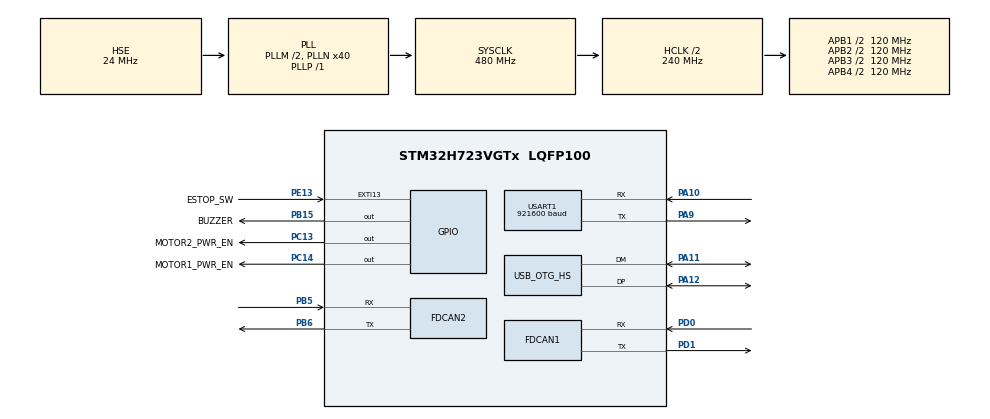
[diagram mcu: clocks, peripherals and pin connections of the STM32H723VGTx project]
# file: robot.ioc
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FDCAN1.AutoRetransmission=ENABLE
FDCAN1.CalculateBaudRateNominal=1000000
FDCAN1.CalculateTimeBitNominal=1000
FDCAN1.CalculateTimeQuantumNominal=25.0
FDCAN1.ClockCalibrationCCU=DISABLE
FDCAN1.DataPrescaler=2
FDCAN1.DataSyncJumpWidth=2
FDCAN1.DataTimeSeg1=5
FDCAN1.DataTimeSeg2=2
FDCAN1.ExtFiltersNbr=0
FDCAN1.FrameFormat=FDCAN_FRAME_FD_BRS
FDCAN1.NominalPrescaler=2
FDCAN1.NominalSyncJumpWidth=8
FDCAN1.NominalTimeSeg1=31
FDCAN1.NominalTimeSeg2=8
FDCAN1.ProtocolException=ENABLE
FDCAN1.RxBufferSize=FDCAN_DATA_BYTES_64
FDCAN1.RxFifo0ElmtSize=FDCAN_DATA_BYTES_64
FDCAN1.RxFifo0ElmtsNbr=10
FDCAN1.RxFifo1ElmtSize=FDCAN_DATA_BYTES_64
FDCAN1.RxFifo1ElmtsNbr=0
FDCAN1.StdFiltersNbr=1
FDCAN1.TxBuffersNbr=4
FDCAN1.TxElmtSize=FDCAN_DATA_BYTES_64
FDCAN1.TxFifoQueueElmtsNbr=28
FDCAN2.AutoRetransmission=ENABLE
FDCAN2.CalculateBaudRateNominal=1000000
FDCAN2.CalculateTimeBitNominal=1000
FDCAN2.CalculateTimeQuantumNominal=25.0
FDCAN2.DataPrescaler=2
FDCAN2.DataSyncJumpWidth=2
FDCAN2.DataTimeSeg1=5
FDCAN2.DataTimeSeg2=2
FDCAN2.ExtFiltersNbr=0
FDCAN2.FrameFormat=FDCAN_FRAME_FD_BRS
FDCAN2.MessageRAMOffset=757
FDCAN2.NominalPrescaler=2
FDCAN2.NominalSyncJumpWidth=8
FDCAN2.NominalTimeSeg1=31
FDCAN2.NominalTimeSeg2=8
FDCAN2.ProtocolException=ENABLE
FDCAN2.RxBufferSize=FDCAN_DATA_BYTES_64
FDCAN2.RxFifo0ElmtSize=FDCAN_DATA_BYTES_64
FDCAN2.RxFifo0ElmtsNbr=10
FDCAN2.RxFifo1ElmtSize=FDCAN_DATA_BYTES_64
FDCAN2.RxFifo1ElmtsNbr=0
FDCAN2.StdFiltersNbr=1
FDCAN2.TxBuffersNbr=4
FDCAN2.TxElmtSize=FDCAN_DATA_BYTES_64
FDCAN2.TxFifoQueueElmtsNbr=28
Mcu.Family=STM32H7
Mcu.Name=STM32H723VGTx
Mcu.Package=LQFP100
NVIC.EXTI15_10_IRQn=true\:0\:0\:false\:false\:true\:true\:true\:true
NVIC.FDCAN1_IT0_IRQn=true\:1\:0\:true\:false\:true\:true\:true\:true
NVIC.FDCAN1_IT1_IRQn=true\:1\:0\:true\:false\:true\:true\:true\:true
NVIC.FDCAN2_IT0_IRQn=true\:1\:0\:true\:false\:true\:true\:true\:true
NVIC.FDCAN2_IT1_IRQn=true\:1\:0\:true\:false\:true\:true\:true\:true
NVIC.OTG_HS_IRQn=true\:0\:0\:false\:false\:true\:false\:true\:true
NVIC.PriorityGroup=NVIC_PRIORITYGROUP_4
PA10.Mode=Asynchronous
PA10.Signal=USART1_RX
PA11.Mode=Device_Only_FS
PA11.Signal=USB_OTG_HS_DM
PA12.Mode=Device_Only_FS
PA12.Signal=USB_OTG_HS_DP
PA13(JTMS/SWDIO).Mode=Serial_Wire
PA13(JTMS/SWDIO).Signal=DEBUG_JTMS-SWDIO
PA14(JTCK/SWCLK).Mode=Serial_Wire
PA14(JTCK/SWCLK).Signal=DEBUG_JTCK-SWCLK
PA9.Mode=Asynchronous
PA9.Signal=USART1_TX
PB15.GPIO_Label=BUZZER
PB15.GPIO_Speed=GPIO_SPEED_FREQ_VERY_HIGH
PB15.Signal=GPIO_Output
PB5.Mode=FDCAN_Activate
PB5.Signal=FDCAN2_RX
PB6.Mode=FDCAN_Activate
PB6.Signal=FDCAN2_TX
PC13.GPIO_Label=MOTOR2_PWR_EN
PC13.Signal=GPIO_Output
PC14-OSC32_IN.GPIO_Label=MOTOR1_PWR_EN
PC14-OSC32_IN.Signal=GPIO_Output
PD0.Mode=FDCAN_Activate
PD0.Signal=FDCAN1_RX
PD1.Mode=FDCAN_Activate
PD1.Signal=FDCAN1_TX
PE13.GPIO_Label=ESTOP_SW
PE13.GPIO_ModeDefaultEXTI=GPIO_MODE_IT_RISING_FALLING
PE13.GPIO_PuPd=GPIO_PULLUP
PE13.Signal=GPXTI13
PH0-OSC_IN.Mode=HSE-External-Oscillator
PH0-OSC_IN.Signal=RCC_OSC_IN
PH1-OSC_OUT.Mode=HSE-External-Oscillator
PH1-OSC_OUT.Signal=RCC_OSC_OUT
ProjectManager.HeapSize=0x800
ProjectManager.StackSize=0x800
ProjectManager.TargetToolchain=CMake
RCC.ADCFreq_Value=150000000
RCC.APB1Freq_Value=120000000
RCC.APB2Freq_Value=120000000
RCC.APB3Freq_Value=120000000
RCC.APB4Freq_Value=120000000
RCC.CortexFreq_Value=480000000
RCC.D1PPRE=RCC_APB3_DIV2
RCC.D2PPRE1=RCC_APB1_DIV2
RCC.D2PPRE2=RCC_APB2_DIV2
RCC.D3PPRE=RCC_APB4_DIV2
RCC.DIVM1=2
RCC.DIVM2=2
RCC.DIVM3=2
RCC.DIVN1=40
RCC.DIVN2=25
RCC.DIVN3=16
RCC.DIVP1=1
RCC.DIVQ1=6
RCC.DIVQ2=3
RCC.DIVQ3=4
RCC.HCLKFreq_Value=240000000
RCC.HPRE=RCC_HCLK_DIV2
RCC.HSE_VALUE=24000000
RCC.PLL2FRACN=0
RCC.PLL3FRACN=0
RCC.PLLFRACN=0
RCC.PLLSourceVirtual=RCC_PLLSOURCE_HSE
RCC.SYSCLKFreq_VALUE=480000000
RCC.SYSCLKSource=RCC_SYSCLKSOURCE_PLLCLK
RCC.USBCLockSelection=RCC_USBCLKSOURCE_PLL3
RCC.USBFreq_Value=48000000
USART1.BaudRate=921600
USART1.VirtualMode-Asynchronous=VM_ASYNC
USB_DEVICE.CLASS_NAME_HS=CDC
USB_DEVICE.VirtualMode=Cdc
USB_DEVICE.VirtualModeHS=Cdc_HS
USB_OTG_HS.VirtualMode-Device_Only_FS=Device_Only_FS
VP_MEMORYMAP_VS_MEMORYMAP.Mode=CurAppReg
VP_USB_DEVICE_VS_USB_DEVICE_CDC_HS.Mode=CDC_HS
VP_WWDG1_VS_WWDG.Mode=WWDG_Activate
WWDG1.Counter=127
WWDG1.Prescaler=WWDG_PRESCALER_128
WWDG1.Window=112
board=custom

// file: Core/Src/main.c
/* USER CODE BEGIN Header */
/**
  ******************************************************************************
  * @file           : main.c
  * @brief          : Main program body
  ******************************************************************************
  * @attention
  *
  * Copyright (c) 2026 STMicroelectronics.
  * All rights reserved.
  *
  * This software is licensed under terms that can be found in the LICENSE file
  * in the root directory of this software component.
  * If no LICENSE file comes with this software, it is provided AS-IS.
  *
  ******************************************************************************
  */
/* USER CODE END Header */
#include "main.h"
#include "usb_device.h"

/* USER CODE BEGIN Includes */

#include <math.h>
#include <stdio.h>
#include "usbd_cdc_if.h"
#include "usbd_core.h"
#include <string.h>
#include "motor.h"
#include "motor_control.h"
#include "motor_many.h"
#include "motor_config.h"
#include "test_motor.h"
#include "test_motor_many.h"

/* USER CODE END Includes */

FDCAN_HandleTypeDef hfdcan1;
FDCAN_HandleTypeDef hfdcan2;

UART_HandleTypeDef huart1;

WWDG_HandleTypeDef hwwdg1;

void SystemClock_Config(void);
static void MX_GPIO_Init(void);
static void MX_FDCAN1_Init(void);
static void MX_FDCAN2_Init(void);
static void MX_USART1_UART_Init(void);
static void MX_WWDG1_Init(void);
/* USER CODE BEGIN PFP */

static void USB_ApplyCommandToMotors(const usb_cdc_command_t *command);
static void USB_ApplyGainTestCommandToMotors(const usb_cdc_gain_test_command_t *command,
                                              uint8_t command_fresh);
static void USB_ConfigureMotorTorqueLimits(void);
static void USB_ConfigureTorqueLimits(float max_torque_nm);
static void USB_SendRobotState(void);
static void IMU_UART_Start(void);
static void IMU_UART_Process(void);

/* USER CODE END PFP */

/* USER CODE BEGIN 0 */

/* PC state feedback stays at 50 Hz; motor commands run at 500 Hz. */
#define USB_STATE_PERIOD_MS 20U
#define USB_CONTROL_PERIOD_MS 2U
#define WWDG_REFRESH_PERIOD_MS 100U
#define USB_CONTROL_TARGET_VELOCITY     0.0f
#define USB_CONTROL_FEEDFORWARD_TORQUE  0.0f
#define USB_CONTROL_MAX_TORQUE          2.0f
#define USB_STARTUP_MAX_VELOCITY_DEG_S  20.0f
#define USB_STARTUP_ACCELERATION_DEG_S2 40.0f
#define USB_GAIN_TEST_COMMAND_TIMEOUT_MS 100U
#define USB_TEST_MAX_TORQUE_NM           10.0f
#define USB_GAIN_TEST_MAX_KP_NM_PER_RAD  100.0f
#define USB_GAIN_TEST_MAX_KD_NMS_PER_RAD 10.0f
#define USB_TWO_PI                       6.2831853071795864769f
#define MOTOR_FEEDBACK_MONITOR_TIMEOUT_MS 60U
#define ROBOT_JOINT_COUNT 6U

#define IMU_FRAME_HEADER         0xFCU
#define IMU_FRAME_END            0xFDU
#define IMU_PACKET_IMU           0x40U
#define IMU_PACKET_AHRS          0x41U
#define IMU_PAYLOAD_IMU_LENGTH   56U
#define IMU_PAYLOAD_AHRS_LENGTH  48U
#define IMU_FRAME_OVERHEAD       8U
#define IMU_FRAME_MAX_LENGTH     (255U + IMU_FRAME_OVERHEAD)
#define IMU_UART_RX_BUFFER_SIZE  512U
#define IMU_UART_RX_BUFFER_MASK  (IMU_UART_RX_BUFFER_SIZE - 1U)
#define IMU_DATA_TIMEOUT_MS      200U

#define IMU_STATUS_RAW_VALID     0x0001U
#define IMU_STATUS_QUAT_VALID    0x0002U
#define MOTOR_STATUS_FEEDBACK_FRESH 0x0100U
#define MOTOR_STATUS_SUSPECT_FEEDBACK 0x0200U
#define MOTOR_STATUS_RX_FIFO_LOST 0x0400U
#define MOTOR_STATUS_TX_ENQUEUE_ERROR 0x0800U
#define MOTOR_STATUS_GAIN_TEST_ACTIVE 0x1000U
#define IMU_STATUS_RX_OVERFLOW   0x8000U

typedef struct
{
  float accel_m_s2[3];
  float gyro_rad_s[3];
  float mag[3];
  float quat[4];
  uint32_t raw_timestamp_ms;
  uint32_t quat_timestamp_ms;
  uint16_t status;
} imu_data_t;

static usb_cdc_command_t g_current_command = {0};
static usb_cdc_gain_test_command_t g_gain_test_command = {0};
static uint8_t g_gain_test_active = 0U;
static usb_cdc_motors_test_command_t g_motors_test_command = {0};
static uint8_t g_motors_test_active = 0U;
static uint32_t g_motors_test_tick = 0U;
static uint32_t g_motors_test_max_control_gap_ms = 0U;
static uint16_t g_motors_test_applied_seq = 0U;
static uint16_t g_motors_test_flags = 1U;
static float g_motors_test_target[6] = {0};
static uint32_t g_last_gain_test_command_tick = 0U;
static float g_configured_max_torque_nm = USB_CONTROL_MAX_TORQUE;
/* Keep this pose synchronized with DEFAULT_JOINT_POS_RAD in pc_32_linux.py. */
static const float g_startup_joint_pos_deg[ROBOT_JOINT_COUNT] = {
  10.0f, -20.0f, 10.0f, 10.0f, -20.0f, 10.0f
};
static const float g_joint_min_deg[ROBOT_JOINT_COUNT] = {
  -60.0f, -120.0f, -45.0f, -60.0f, -120.0f, -45.0f
};
static const float g_joint_max_deg[ROBOT_JOINT_COUNT] = {
  60.0f, 0.0f, 45.0f, 60.0f, 0.0f, 45.0f
};
static uint32_t g_last_state_tick = 0U;
static uint32_t g_last_control_tick = 0U;
static uint32_t g_last_control_run_tick = 0U;
static uint32_t g_last_wwdg_refresh_tick = 0U;
static imu_data_t g_imu_data = {0};
static uint8_t g_imu_uart_rx_byte = 0U;
static uint8_t g_imu_uart_rx_buffer[IMU_UART_RX_BUFFER_SIZE];
static volatile uint16_t g_imu_uart_rx_head = 0U;
static volatile uint16_t g_imu_uart_rx_tail = 0U;
static volatile uint8_t g_imu_uart_rx_overflow = 0U;

static uint8_t IMU_CRC8(const uint8_t *data, uint16_t length)
{
  uint8_t crc = 0U;

  for (uint16_t i = 0U; i < length; ++i)
  {
    crc ^= data[i];
    for (uint8_t bit = 0U; bit < 8U; ++bit)
    {
      crc = ((crc & 0x01U) != 0U) ? (uint8_t)((crc >> 1U) ^ 0x8CU)
                                  : (uint8_t)(crc >> 1U);
    }
  }

  return crc;
}

static uint16_t IMU_CRC16(const uint8_t *data, uint16_t length)
{
  uint16_t crc = 0U;

  for (uint16_t i = 0U; i < length; ++i)
  {
    crc ^= (uint16_t)data[i] << 8U;
    for (uint8_t bit = 0U; bit < 8U; ++bit)
    {
      crc = ((crc & 0x8000U) != 0U) ? (uint16_t)((crc << 1U) ^ 0x1021U)
                                    : (uint16_t)(crc << 1U);
    }
  }

  return crc;
}

static float IMU_ReadFloatLE(const uint8_t *data)
{
  float value;
  uint8_t bytes[4];

  bytes[0] = data[0];
  bytes[1] = data[1];
  bytes[2] = data[2];
  bytes[3] = data[3];
  memcpy(&value, bytes, sizeof(value));
  return value;
}

/*
 * FDILink's ROS driver maps the sensor frame to the robot base frame with a
 * fixed 180-degree rotation about X:
 *   vector:     [x, y, z] -> [x, -y, -z]
 *   quaternion: [w, x, y, z] -> [w, x, -y, -z]
 *
 * Apply the same transform to every IMU quantity exported to the host so the
 * angular velocity and orientation observations use one consistent frame.
 */
static void IMU_VectorSensorToBase(const float sensor[3], float base[3])
{
  base[0] = sensor[0];
  base[1] = -sensor[1];
  base[2] = -sensor[2];
}

static void IMU_QuaternionSensorToBase(const float sensor[4], float base[4])
{
  base[0] = sensor[0];
  base[1] = sensor[1];
  base[2] = -sensor[2];
  base[3] = -sensor[3];
}

static void IMU_ParseFrame(const uint8_t *frame, uint16_t length)
{
  uint8_t payload_length = frame[2];
  const uint8_t *payload = &frame[7];
  uint16_t received_crc16;

  if ((length != ((uint16_t)payload_length + IMU_FRAME_OVERHEAD)) ||
      (frame[length - 1U] != IMU_FRAME_END) ||
      (IMU_CRC8(frame, 4U) != frame[4]))
  {
    return;
  }

  received_crc16 = ((uint16_t)frame[5] << 8U) | frame[6];
  if (IMU_CRC16(payload, payload_length) != received_crc16)
  {
    return;
  }

  if ((frame[1] == IMU_PACKET_IMU) && (payload_length == IMU_PAYLOAD_IMU_LENGTH))
  {
    float gyro[3];
    float accel[3];
    float mag[3];

    for (uint8_t axis = 0U; axis < 3U; ++axis)
    {
      gyro[axis] = IMU_ReadFloatLE(&payload[axis * 4U]);
      accel[axis] = IMU_ReadFloatLE(&payload[12U + axis * 4U]);
      mag[axis] = IMU_ReadFloatLE(&payload[24U + axis * 4U]);
    }

    if (isfinite(gyro[0]) && isfinite(gyro[1]) && isfinite(gyro[2]))
    {
      IMU_VectorSensorToBase(gyro, g_imu_data.gyro_rad_s);
      IMU_VectorSensorToBase(accel, g_imu_data.accel_m_s2);
      IMU_VectorSensorToBase(mag, g_imu_data.mag);
      g_imu_data.raw_timestamp_ms = HAL_GetTick();
      g_imu_data.status |= IMU_STATUS_RAW_VALID;
    }
  }
  else if ((frame[1] == IMU_PACKET_AHRS) && (payload_length == IMU_PAYLOAD_AHRS_LENGTH))
  {
    float gyro[3];
    float quat[4];
    float norm_squared = 0.0f;

    for (uint8_t axis = 0U; axis < 3U; ++axis)
    {
      gyro[axis] = IMU_ReadFloatLE(&payload[axis * 4U]);
    }

    for (uint8_t i = 0U; i < 4U; ++i)
    {
      /* FDILink Q1..Q4 are Qw, Qx, Qy, Qz, as in the vendor example. */
      quat[i] = IMU_ReadFloatLE(&payload[24U + i * 4U]);
      norm_squared += quat[i] * quat[i];
    }

    if (isfinite(gyro[0]) && isfinite(gyro[1]) && isfinite(gyro[2]))
    {
      IMU_VectorSensorToBase(gyro, g_imu_data.gyro_rad_s);
      g_imu_data.raw_timestamp_ms = HAL_GetTick();
      g_imu_data.status |= IMU_STATUS_RAW_VALID;
    }

    if (isfinite(norm_squared) && (norm_squared > 0.25f) && (norm_squared < 4.0f))
    {
      float inverse_norm = 1.0f / sqrtf(norm_squared);
      float normalized_quat[4];

      for (uint8_t i = 0U; i < 4U; ++i)
      {
        normalized_quat[i] = quat[i] * inverse_norm;
      }
      IMU_QuaternionSensorToBase(normalized_quat, g_imu_data.quat);

      g_imu_data.quat_timestamp_ms = HAL_GetTick();
      g_imu_data.status |= IMU_STATUS_QUAT_VALID;
    }
  }
}

static void IMU_UART_Process(void)
{
  static uint8_t frame[IMU_FRAME_MAX_LENGTH];
  static uint16_t frame_index = 0U;
  static uint16_t frame_length = 0U;

  if (g_imu_uart_rx_overflow != 0U)
  {
    g_imu_uart_rx_overflow = 0U;
    g_imu_data.status |= IMU_STATUS_RX_OVERFLOW;
    frame_index = 0U;
    frame_length = 0U;
  }

  while (g_imu_uart_rx_tail != g_imu_uart_rx_head)
  {
    uint8_t byte = g_imu_uart_rx_buffer[g_imu_uart_rx_tail];
    g_imu_uart_rx_tail = (uint16_t)((g_imu_uart_rx_tail + 1U) & IMU_UART_RX_BUFFER_MASK);

    if (frame_index == 0U)
    {
      if (byte == IMU_FRAME_HEADER)
      {
        frame[frame_index++] = byte;
      }
    }
    else if (frame_index == 2U)
    {
      frame[frame_index++] = byte;
      frame_length = (uint16_t)byte + IMU_FRAME_OVERHEAD;
    }
    else
    {
      frame[frame_index++] = byte;

      if ((frame_index == 5U) && (IMU_CRC8(frame, 4U) != frame[4]))
      {
        frame_index = 0U;
        frame_length = 0U;
        continue;
      }

      if (frame_index == frame_length)
      {
        IMU_ParseFrame(frame, frame_length);
        frame_index = 0U;
        frame_length = 0U;
      }
    }
  }
}

static void IMU_UART_Start(void)
{
  HAL_NVIC_SetPriority(USART1_IRQn, 5U, 0U);
  HAL_NVIC_EnableIRQ(USART1_IRQn);

  if (HAL_UART_Receive_IT(&huart1, &g_imu_uart_rx_byte, 1U) != HAL_OK)
  {
    Error_Handler();
  }
}

static void USB_ApplyCommandToMotors(const usb_cdc_command_t *command)
{
  if (command == NULL)
  {
    return;
  }

  if ((command->flags & USB_CDC_COMMAND_FLAG_STARTUP_TRAJECTORY) != 0U)
  {
    /*
     * Use the drive's trapezoidal trajectory generator while moving to the
     * policy default pose. This avoids commanding a moving position target
     * together with zero desired velocity through the policy-time PD loop.
     */
    motor_many_pos_vel_acc(PORT1, 1, command->target_joint_pos[0], USB_STARTUP_MAX_VELOCITY_DEG_S, USB_STARTUP_ACCELERATION_DEG_S2);
    motor_many_pos_vel_acc(PORT1, 2, command->target_joint_pos[1], USB_STARTUP_MAX_VELOCITY_DEG_S, USB_STARTUP_ACCELERATION_DEG_S2);
    motor_many_pos_vel_acc(PORT1, 3, command->target_joint_pos[2], USB_STARTUP_MAX_VELOCITY_DEG_S, USB_STARTUP_ACCELERATION_DEG_S2);
    motor_many_pos_vel_acc(PORT2, 1, command->target_joint_pos[3], USB_STARTUP_MAX_VELOCITY_DEG_S, USB_STARTUP_ACCELERATION_DEG_S2);
    motor_many_pos_vel_acc(PORT2, 2, command->target_joint_pos[4], USB_STARTUP_MAX_VELOCITY_DEG_S, USB_STARTUP_ACCELERATION_DEG_S2);
    motor_many_pos_vel_acc(PORT2, 3, command->target_joint_pos[5], USB_STARTUP_MAX_VELOCITY_DEG_S, USB_STARTUP_ACCELERATION_DEG_S2);
  }
  else
  {
    float kp_nm_per_turn;
    float kd_nms_per_turn;

    if (!isfinite(command->kp_nm_per_rad) ||
        !isfinite(command->kd_nms_per_rad) ||
        (command->kp_nm_per_rad < 0.0f) ||
        (command->kp_nm_per_rad > USB_GAIN_TEST_MAX_KP_NM_PER_RAD) ||
        (command->kd_nms_per_rad < 0.0f) ||
        (command->kd_nms_per_rad > USB_GAIN_TEST_MAX_KD_NMS_PER_RAD))
    {
      return;
    }

    /* The drive evaluates errors in turns; convert the PC's SI radian gains. */
    kp_nm_per_turn = command->kp_nm_per_rad * USB_TWO_PI;
    kd_nms_per_turn = command->kd_nms_per_rad * USB_TWO_PI;
    motor_many_pos_vel_tqe_kp_kd_2(PORT1, 1, command->target_joint_pos[0], USB_CONTROL_TARGET_VELOCITY, USB_CONTROL_FEEDFORWARD_TORQUE, kp_nm_per_turn, kd_nms_per_turn);
    motor_many_pos_vel_tqe_kp_kd_2(PORT1, 2, command->target_joint_pos[1], USB_CONTROL_TARGET_VELOCITY, USB_CONTROL_FEEDFORWARD_TORQUE, kp_nm_per_turn, kd_nms_per_turn);
    motor_many_pos_vel_tqe_kp_kd_2(PORT1, 3, command->target_joint_pos[2], USB_CONTROL_TARGET_VELOCITY, USB_CONTROL_FEEDFORWARD_TORQUE, kp_nm_per_turn, kd_nms_per_turn);
    motor_many_pos_vel_tqe_kp_kd_2(PORT2, 1, command->target_joint_pos[3], USB_CONTROL_TARGET_VELOCITY, USB_CONTROL_FEEDFORWARD_TORQUE, kp_nm_per_turn, kd_nms_per_turn);
    motor_many_pos_vel_tqe_kp_kd_2(PORT2, 2, command->target_joint_pos[4], USB_CONTROL_TARGET_VELOCITY, USB_CONTROL_FEEDFORWARD_TORQUE, kp_nm_per_turn, kd_nms_per_turn);
    motor_many_pos_vel_tqe_kp_kd_2(PORT2, 3, command->target_joint_pos[5], USB_CONTROL_TARGET_VELOCITY, USB_CONTROL_FEEDFORWARD_TORQUE, kp_nm_per_turn, kd_nms_per_turn);
  }

  motor_many_send(PORT1, MANY_GET_TEMP_FLAUT_POS_VEL_TQE);
  motor_many_send(PORT2, MANY_GET_TEMP_FLAUT_POS_VEL_TQE);
}

static p_motor_state_s USB_GetJointMotorState(uint8_t joint_index)
{
  if (joint_index >= ROBOT_JOINT_COUNT)
  {
    return NULL;
  }

  if (joint_index < 3U)
  {
    return motor_get_state(PORT1, (uint8_t)(joint_index + 1U));
  }

  return motor_get_state(PORT2, (uint8_t)(joint_index - 2U));
}

static void USB_SetGainTestMotor(uint8_t joint_index, float target_position_deg,
                                 float kp_nm_per_turn, float kd_nms_per_turn)
{
  if (joint_index < 3U)
  {
    motor_many_pos_vel_tqe_kp_kd_2(
        PORT1, (uint8_t)(joint_index + 1U), target_position_deg,
        USB_CONTROL_TARGET_VELOCITY, USB_CONTROL_FEEDFORWARD_TORQUE,
        kp_nm_per_turn, kd_nms_per_turn);
  }
  else
  {
    motor_many_pos_vel_tqe_kp_kd_2(
        PORT2, (uint8_t)(joint_index - 2U), target_position_deg,
        USB_CONTROL_TARGET_VELOCITY, USB_CONTROL_FEEDFORWARD_TORQUE,
        kp_nm_per_turn, kd_nms_per_turn);
  }
}

static void USB_ApplyGainTestCommandToMotors(
    const usb_cdc_gain_test_command_t *command, uint8_t command_fresh)
{
  uint8_t selected_joint = ROBOT_JOINT_COUNT;
  float selected_target_deg = 0.0f;
  float kp_nm_per_turn = 0.0f;
  float kd_nms_per_turn = 0.0f;
  uint8_t feedback_fresh = motor_all_active_states_fresh(
      HAL_GetTick(), MOTOR_FEEDBACK_MONITOR_TIMEOUT_MS);

  if ((command != NULL) && (command_fresh != 0U) &&
      ((command->flags & USB_CDC_GAIN_TEST_FLAG_ENABLE) != 0U) &&
      (command->joint_index < ROBOT_JOINT_COUNT) &&
      isfinite(command->target_position_deg) &&
      isfinite(command->kp_nm_per_rad) &&
      isfinite(command->kd_nms_per_rad) &&
      (command->kp_nm_per_rad >= 0.0f) &&
      (command->kp_nm_per_rad <= USB_GAIN_TEST_MAX_KP_NM_PER_RAD) &&
      (command->kd_nms_per_rad >= 0.0f) &&
      (command->kd_nms_per_rad <= USB_GAIN_TEST_MAX_KD_NMS_PER_RAD) &&
      (feedback_fresh != 0U))
  {
    selected_joint = command->joint_index;
    selected_target_deg = fmaxf(
        g_joint_min_deg[selected_joint],
        fminf(g_joint_max_deg[selected_joint], command->target_position_deg));

    /*
     * The motor protocol computes position and velocity errors in turns and
     * turns/s. Multiplying the SI gains by 2*pi preserves the requested
     * N*m/rad and N*m*s/rad gains before the vendor pid_adjust() conversion.
     */
    kp_nm_per_turn = command->kp_nm_per_rad * USB_TWO_PI;
    kd_nms_per_turn = command->kd_nms_per_rad * USB_TWO_PI;
  }

  for (uint8_t joint = 0U; joint < ROBOT_JOINT_COUNT; ++joint)
  {
    p_motor_state_s motor_state = USB_GetJointMotorState(joint);
    float target_position_deg =
        (motor_state != NULL) ? motor_state->position : 0.0f;
    float joint_kp = 0.0f;
    float joint_kd = 0.0f;

    if (joint == selected_joint)
    {
      target_position_deg = selected_target_deg;
      joint_kp = kp_nm_per_turn;
      joint_kd = kd_nms_per_turn;
    }

    USB_SetGainTestMotor(joint, target_position_deg, joint_kp, joint_kd);
  }

  motor_many_send(PORT1, MANY_GET_TEMP_FLAUT_POS_VEL_TQE);
  motor_many_send(PORT2, MANY_GET_TEMP_FLAUT_POS_VEL_TQE);
}

static void USB_ConfigureMotorTorqueLimits(void)
{
  USB_ConfigureTorqueLimits(USB_CONTROL_MAX_TORQUE);
}

static void USB_ConfigureTorqueLimits(float max_torque_nm)
{
  max_torque_nm = fmaxf(0.0f, fminf(USB_TEST_MAX_TORQUE_NM,
                                   max_torque_nm));

  /*
   * True motion-control packets do not carry register 0x025 (maximum torque).
   * Seed it through the position/velocity/maximum-torque mode before entering
   * true motion control. NAN means no position target and zero velocity prevents
   * an intentional startup motion; the same frames request the initial states.
   */
  motor_many_pos_vel_MAXtqe(PORT1, 1, NAN_FLOAT, 0.0f, max_torque_nm);
  motor_many_pos_vel_MAXtqe(PORT1, 2, NAN_FLOAT, 0.0f, max_torque_nm);
  motor_many_pos_vel_MAXtqe(PORT1, 3, NAN_FLOAT, 0.0f, max_torque_nm);
  motor_many_pos_vel_MAXtqe(PORT2, 1, NAN_FLOAT, 0.0f, max_torque_nm);
  motor_many_pos_vel_MAXtqe(PORT2, 2, NAN_FLOAT, 0.0f, max_torque_nm);
  motor_many_pos_vel_MAXtqe(PORT2, 3, NAN_FLOAT, 0.0f, max_torque_nm);

  motor_many_send(PORT1, MANY_GET_TEMP_FLAUT_POS_VEL_TQE);
  motor_many_send(PORT2, MANY_GET_TEMP_FLAUT_POS_VEL_TQE);
  g_configured_max_torque_nm = max_torque_nm;
}

static uint8_t USB_MotorsTestCommandValid(const usb_cdc_motors_test_command_t *c)
{
  if (!isfinite(c->kp) || c->kp < 0.0f || c->kp > 100.0f ||
      !isfinite(c->kd) || c->kd < 0.0f || c->kd > 10.0f ||
      !isfinite(c->max_torque) || c->max_torque < 0.0f ||
      c->max_torque > USB_TEST_MAX_TORQUE_NM ||
      (c->flags & ~1U) != 0U) return 0U;
  for (uint8_t i = 0U; i < 6U; ++i)
    if (!isfinite(c->target[i]) || c->target[i] < g_joint_min_deg[i] ||
        c->target[i] > g_joint_max_deg[i]) return 0U;
  return 1U;
}

static void USB_ApplyMotorsTest(void)
{
  uint32_t now = HAL_GetTick();
  uint8_t fresh = (now - g_motors_test_tick) <= USB_GAIN_TEST_COMMAND_TIMEOUT_MS;
  uint8_t enabled = fresh && (g_motors_test_command.flags & 1U) &&
      motor_all_active_states_fresh(now, MOTOR_FEEDBACK_MONITOR_TIMEOUT_MS);
  for (uint8_t i = 0U; i < 6U; ++i)
    if (motor_get_fresh_fault(USB_GetJointMotorState(i), now,
        MOTOR_FEEDBACK_MONITOR_TIMEOUT_MS) != 0U) enabled = 0U;
  g_motors_test_flags = 1U | (fresh ? 2U : 0U) | (enabled ? 4U : 0U);
  g_motors_test_applied_seq = g_motors_test_command.seq;
  for (uint8_t i = 0U; i < 6U; ++i)
  {
    float target = enabled ? g_motors_test_command.target[i] : USB_GetJointMotorState(i)->position;
    g_motors_test_target[i] = target;
    USB_SetGainTestMotor(i, target,
        enabled ? g_motors_test_command.kp * USB_TWO_PI : 0.0f,
        enabled ? g_motors_test_command.kd * USB_TWO_PI : 0.0f);
  }
  /* All six drives run V4.5.3. The compact 0xFF 0xFE reply carries
   * temperature, fault, position, velocity and torque on every control cycle,
   * so a separate burst of full-state queries is unnecessary. */
  motor_many_send(PORT1, MANY_GET_TEMP_FLAUT_POS_VEL_TQE);
  motor_many_send(PORT2, MANY_GET_TEMP_FLAUT_POS_VEL_TQE);
}

static void USB_SendMotorsTestState(void)
{
  usb_cdc_motors_test_state_t state = {0};
  motor_process_state_all();
  uint32_t now = HAL_GetTick();
  state.timestamp_ms = now;
  state.command_seq = g_motors_test_applied_seq;
  state.flags = g_motors_test_flags;
  state.rx_lost_count = motor_get_rx_lost_count();
  state.tx_error_count = fdcan_get_tx_error_count();
  state.command_age_ms = now - g_motors_test_tick;
  state.max_control_gap_ms = g_motors_test_max_control_gap_ms;
  state.kp_nm_per_rad = g_motors_test_command.kp;
  state.kd_nms_per_rad = g_motors_test_command.kd;
  state.configured_max_torque_nm = g_configured_max_torque_nm;
  state.imu_status = g_imu_data.status;
  FDCAN_HandleTypeDef *buses[2] = {&hfdcan1, &hfdcan2};
  for (uint8_t i = 0U; i < 2U; ++i)
  {
    /* PSR LEC/DLEC and ECR CEL have read side effects: sample once per report. */
    state.buses[i].psr = buses[i]->Instance->PSR;
    state.buses[i].ecr = buses[i]->Instance->ECR;
    state.buses[i].hal_error = buses[i]->ErrorCode;
    state.buses[i].valid = 1U;
  }
  for (uint8_t i = 0U; i < 6U; ++i)
  {
    p_motor_state_s m = USB_GetJointMotorState(i);
    usb_cdc_motor_diagnostic_t *d = &state.motors[i];
    d->target = g_motors_test_target[i];
    d->position = m->position;
    d->velocity = m->velocity;
    d->torque = m->torque;
    d->age_ms = m->valid ? now - m->last_update_ms : UINT32_MAX;
    d->accept_count = m->accept_count;
    d->suspect_count = m->suspect_count;
    d->valid = m->valid;
    d->fault = motor_get_fresh_fault(m, now, MOTOR_FEEDBACK_MONITOR_TIMEOUT_MS);
    usb_cdc_motor_trace_t *trace = &state.traces[i];
    trace->last_fault_ms = m->last_fault_ms;
    trace->fault_age_ms = m->fault_valid ? now - m->last_fault_ms : UINT32_MAX;
    trace->fault_valid = m->fault_valid;
    trace->mode = m->mode;
    trace->temperature = m->temp;
    trace->tx_valid = motor_many_get_pd_codes(i < 3U ? PORT1 : PORT2,
                                             (i % 3U) + 1U, trace->pd_codes);
    trace->last_rx = m->last_rx;
    trace->last_reject = m->last_reject;
    trace->peak_rx = m->peak_rx;
  }
  if (USB_CDC_SendMotorsTestState(&state) == USBD_OK)
  {
    motor_clear_diagnostic_peaks();
    g_motors_test_max_control_gap_ms = 0U;
  }
}

static void USB_SendRobotState(void)
{
  usb_cdc_state_t state = {0};
  uint32_t now = HAL_GetTick();
  uint16_t imu_status = g_imu_data.status & IMU_STATUS_RX_OVERFLOW;

  motor_process_state_all();

  state.joint_pos[0] = motor_get_state(PORT1, 1)->position;
  state.joint_pos[1] = motor_get_state(PORT1, 2)->position;
  state.joint_pos[2] = motor_get_state(PORT1, 3)->position;
  state.joint_pos[3] = motor_get_state(PORT2, 1)->position;
  state.joint_pos[4] = motor_get_state(PORT2, 2)->position;
  state.joint_pos[5] = motor_get_state(PORT2, 3)->position;

  state.joint_vel[0] = motor_get_state(PORT1, 1)->velocity;
  state.joint_vel[1] = motor_get_state(PORT1, 2)->velocity;
  state.joint_vel[2] = motor_get_state(PORT1, 3)->velocity;
  state.joint_vel[3] = motor_get_state(PORT2, 1)->velocity;
  state.joint_vel[4] = motor_get_state(PORT2, 2)->velocity;
  state.joint_vel[5] = motor_get_state(PORT2, 3)->velocity;

  if (((g_imu_data.status & IMU_STATUS_QUAT_VALID) != 0U) &&
      ((now - g_imu_data.quat_timestamp_ms) <= IMU_DATA_TIMEOUT_MS))
  {
    memcpy(state.base_quat, g_imu_data.quat, sizeof(state.base_quat));
    imu_status |= IMU_STATUS_QUAT_VALID;
  }
  else
  {
    state.base_quat[0] = 1.0f;
  }

  state.base_lin_vel[0] = 0.0f;
  state.base_lin_vel[1] = 0.0f;
  state.base_lin_vel[2] = 0.0f;

  if (((g_imu_data.status & IMU_STATUS_RAW_VALID) != 0U) &&
      ((now - g_imu_data.raw_timestamp_ms) <= IMU_DATA_TIMEOUT_MS))
  {
    memcpy(state.base_ang_vel, g_imu_data.gyro_rad_s, sizeof(state.base_ang_vel));
    imu_status |= IMU_STATUS_RAW_VALID;
  }

  state.cmd[0] = 0.0f;
  state.cmd[1] = 0.0f;
  state.cmd[2] = 0.0f;

  if ((g_gain_test_active != 0U) &&
      (g_gain_test_command.joint_index < ROBOT_JOINT_COUNT))
  {
    p_motor_state_s selected_state = USB_GetJointMotorState(
        g_gain_test_command.joint_index);
    if (selected_state != NULL)
    {
      state.cmd[0] = selected_state->torque;
    }
    state.cmd[1] = g_gain_test_command.kp_nm_per_rad;
    state.cmd[2] = g_gain_test_command.kd_nms_per_rad;
    imu_status |= MOTOR_STATUS_GAIN_TEST_ACTIVE;
  }

  state.timestamp_ms = now;
  if (motor_all_active_states_fresh(now, MOTOR_FEEDBACK_MONITOR_TIMEOUT_MS) != 0U)
  {
    imu_status |= MOTOR_STATUS_FEEDBACK_FRESH;
  }
  if (motor_get_suspect_count() != 0U)
  {
    imu_status |= MOTOR_STATUS_SUSPECT_FEEDBACK;
  }
  if (motor_get_rx_lost_count() != 0U)
  {
    imu_status |= MOTOR_STATUS_RX_FIFO_LOST;
  }
  if (fdcan_get_tx_error_count() != 0U)
  {
    imu_status |= MOTOR_STATUS_TX_ENQUEUE_ERROR;
  }
  state.status = imu_status;

  (void)USB_CDC_SendState(&state);
}

/* USER CODE END 0 */

int main(void)
{

  /* MCU Configuration--------------------------------------------------------*/

  /* Reset of all peripherals, Initializes the Flash interface and the Systick. */
  HAL_Init();

  /* Configure the system clock */
  SystemClock_Config();

  /* Initialize all configured peripherals */
  MX_GPIO_Init();
  MX_FDCAN1_Init();
  MX_FDCAN2_Init();
  MX_USB_DEVICE_Init();
  MX_USART1_UART_Init();
  /* USER CODE BEGIN 2 */
  IMU_UART_Start();

  fdcan_filter_init(&hfdcan1);
  fdcan_filter_init(&hfdcan2);

  // 打开电机电源
  HAL_GPIO_WritePin(GPIOC, MOTOR2_PWR_EN_Pin | MOTOR1_PWR_EN_Pin, GPIO_PIN_SET);
  HAL_Delay(100);

  /* Left hip is PORT1/ID1 (robot_deploy joint J1). Set its current
   * physical position to zero before sending any startup motion commands. */
  p_motor_state_s left_hip_state = motor_get_state(PORT1, 1U);
  motor_process_state_all();
  left_hip_state->ack = 0U;
  for (uint8_t attempt = 0U; attempt < 10U; ++attempt)
  {
    set_pos_rezero(&hfdcan1, 1U);
    HAL_Delay(100U);
    motor_process_state_all();
    if (left_hip_state->ack != 0U)
    {
      break;
    }
  }
  if (left_hip_state->ack == 0U)
  {
    HAL_GPIO_WritePin(GPIOC, MOTOR2_PWR_EN_Pin | MOTOR1_PWR_EN_Pin, GPIO_PIN_RESET);
    Error_Handler();
  }

  USB_ConfigureMotorTorqueLimits();
  HAL_Delay(2U);
  USB_SendRobotState();

  /* Send the startup trapezoidal trajectory directly over CAN. */
  motor_many_pos_vel_acc(PORT1, 1, g_startup_joint_pos_deg[0], USB_STARTUP_MAX_VELOCITY_DEG_S, USB_STARTUP_ACCELERATION_DEG_S2);
  motor_many_pos_vel_acc(PORT1, 2, g_startup_joint_pos_deg[1], USB_STARTUP_MAX_VELOCITY_DEG_S, USB_STARTUP_ACCELERATION_DEG_S2);
  motor_many_pos_vel_acc(PORT1, 3, g_startup_joint_pos_deg[2], USB_STARTUP_MAX_VELOCITY_DEG_S, USB_STARTUP_ACCELERATION_DEG_S2);
  motor_many_pos_vel_acc(PORT2, 1, g_startup_joint_pos_deg[3], USB_STARTUP_MAX_VELOCITY_DEG_S, USB_STARTUP_ACCELERATION_DEG_S2);
  motor_many_pos_vel_acc(PORT2, 2, g_startup_joint_pos_deg[4], USB_STARTUP_MAX_VELOCITY_DEG_S, USB_STARTUP_ACCELERATION_DEG_S2);
  motor_many_pos_vel_acc(PORT2, 3, g_startup_joint_pos_deg[5], USB_STARTUP_MAX_VELOCITY_DEG_S, USB_STARTUP_ACCELERATION_DEG_S2);
  motor_many_send(PORT1, MANY_GET_TEMP_FLAUT_POS_VEL_TQE);
  motor_many_send(PORT2, MANY_GET_TEMP_FLAUT_POS_VEL_TQE);

  /* Keep subsequent 2 ms control cycles on the same pose and mode. */
  memcpy(g_current_command.target_joint_pos, g_startup_joint_pos_deg,
         sizeof(g_startup_joint_pos_deg));
  g_current_command.flags = USB_CDC_COMMAND_FLAG_STARTUP_TRAJECTORY;
  g_last_state_tick = HAL_GetTick();
  g_last_control_tick = g_last_state_tick;
  g_last_control_run_tick = g_last_state_tick;

  /* Start WWDG only after all blocking startup operations have completed. */
  MX_WWDG1_Init();
  g_last_wwdg_refresh_tick = HAL_GetTick();

  /* USER CODE END 2 */

  /* Infinite loop */
  while (1)
  {

    /* USER CODE BEGIN 3 */

    usb_cdc_command_t received_command;
    usb_cdc_gain_test_command_t received_gain_test_command;

    IMU_UART_Process();
    motor_process_state_all();

    if (USB_CDC_GetLatestCommand(&received_command) != 0U)
    {
      if (g_gain_test_active != 0U || g_motors_test_active != 0U)
      {
        g_motors_test_active = 0U;
        USB_ConfigureMotorTorqueLimits();
        g_gain_test_active = 0U;
      }
      g_current_command = received_command;
    }

    if (USB_CDC_GetLatestGainTestCommand(&received_gain_test_command) != 0U)
    {
      g_motors_test_active = 0U;
      uint8_t command_valid =
          (received_gain_test_command.joint_index < ROBOT_JOINT_COUNT) &&
          isfinite(received_gain_test_command.target_position_deg) &&
          isfinite(received_gain_test_command.kp_nm_per_rad) &&
          isfinite(received_gain_test_command.kd_nms_per_rad) &&
          isfinite(received_gain_test_command.max_torque_nm) &&
          (received_gain_test_command.kp_nm_per_rad >= 0.0f) &&
          (received_gain_test_command.kp_nm_per_rad <=
           USB_GAIN_TEST_MAX_KP_NM_PER_RAD) &&
          (received_gain_test_command.kd_nms_per_rad >= 0.0f) &&
          (received_gain_test_command.kd_nms_per_rad <=
           USB_GAIN_TEST_MAX_KD_NMS_PER_RAD) &&
          (received_gain_test_command.max_torque_nm >= 0.0f) &&
          (received_gain_test_command.max_torque_nm <=
           USB_TEST_MAX_TORQUE_NM);

      if (command_valid == 0U)
      {
        received_gain_test_command.flags = 0U;
        received_gain_test_command.max_torque_nm = 0.0f;
      }

      if ((g_gain_test_active == 0U) ||
          (fabsf(received_gain_test_command.max_torque_nm -
                 g_configured_max_torque_nm) > 0.0001f))
      {
        USB_ConfigureTorqueLimits(received_gain_test_command.max_torque_nm);
      }

      g_gain_test_command = received_gain_test_command;
      g_gain_test_active = 1U;
      g_last_gain_test_command_tick = HAL_GetTick();
    }

    usb_cdc_motors_test_command_t motors_command;
    if (USB_CDC_GetLatestMotorsTestCommand(&motors_command) != 0U)
    {
      if (!USB_MotorsTestCommandValid(&motors_command))
      {
        motors_command.flags = 0U;
        motors_command.kp = motors_command.kd = motors_command.max_torque = 0.0f;
      }
      if (!g_motors_test_active || fabsf(motors_command.max_torque - g_configured_max_torque_nm) > 0.0001f)
        USB_ConfigureTorqueLimits(motors_command.max_torque);
      g_gain_test_active = 0U;
      g_motors_test_active = 1U;
      g_motors_test_command = motors_command;
      g_motors_test_tick = HAL_GetTick();
    }

    uint32_t control_now = HAL_GetTick();
    uint32_t control_elapsed_ms = control_now - g_last_control_tick;
    if (control_elapsed_ms >= USB_CONTROL_PERIOD_MS)
    {
      uint32_t control_gap_ms = control_now - g_last_control_run_tick;
      g_last_control_run_tick = control_now;
      if (control_gap_ms > g_motors_test_max_control_gap_ms)
        g_motors_test_max_control_gap_ms = control_gap_ms;
      /* Keep the 2 ms schedule; skip missed slots instead of bursting CAN frames. */
      g_last_control_tick += control_elapsed_ms -
                             (control_elapsed_ms % USB_CONTROL_PERIOD_MS);
      if (g_motors_test_active != 0U)
      {
        USB_ApplyMotorsTest();
      }
      else if (g_gain_test_active != 0U)
      {
        uint8_t command_fresh =
            ((HAL_GetTick() - g_last_gain_test_command_tick) <=
             USB_GAIN_TEST_COMMAND_TIMEOUT_MS) ? 1U : 0U;
        USB_ApplyGainTestCommandToMotors(&g_gain_test_command, command_fresh);
      }
      else
      {
        USB_ApplyCommandToMotors(&g_current_command);
      }
    }

    if ((HAL_GetTick() - g_last_state_tick) >= USB_STATE_PERIOD_MS)
    {
      if (g_motors_test_active != 0U) USB_SendMotorsTestState();
      else USB_SendRobotState();
      g_last_state_tick = HAL_GetTick();
    }

    /*
     * Refresh only after the main-loop work has completed. With the configured
     * 120 MHz WWDG clock, prescaler 128, counter 127 and window 112, 100 ms is
     * inside the valid refresh window of approximately 65.5 ms to 275.3 ms.
     */
    if ((HAL_GetTick() - g_last_wwdg_refresh_tick) >= WWDG_REFRESH_PERIOD_MS)
    {
      (void)HAL_WWDG_Refresh(&hwwdg1);
      g_last_wwdg_refresh_tick = HAL_GetTick();
    }

    /* Poll continuously so a blocking delay cannot stretch the 2 ms period. */

  }
  /* USER CODE END 3 */
}

void SystemClock_Config(void)
{
  RCC_OscInitTypeDef RCC_OscInitStruct = {0};
  RCC_ClkInitTypeDef RCC_ClkInitStruct = {0};

  /** Supply configuration update enable
  */
  HAL_PWREx_ConfigSupply(PWR_LDO_SUPPLY);

  /** Configure the main internal regulator output voltage
  */
  __HAL_PWR_VOLTAGESCALING_CONFIG(PWR_REGULATOR_VOLTAGE_SCALE0);

  while(!__HAL_PWR_GET_FLAG(PWR_FLAG_VOSRDY)) {}

  /** Initializes the RCC Oscillators according to the specified parameters
  * in the RCC_OscInitTypeDef structure.
  */
  RCC_OscInitStruct.OscillatorType = RCC_OSCILLATORTYPE_HSE;
  RCC_OscInitStruct.HSEState = RCC_HSE_ON;
  RCC_OscInitStruct.PLL.PLLState = RCC_PLL_ON;
  RCC_OscInitStruct.PLL.PLLSource = RCC_PLLSOURCE_HSE;
  RCC_OscInitStruct.PLL.PLLM = 2;
  RCC_OscInitStruct.PLL.PLLN = 40;
  RCC_OscInitStruct.PLL.PLLP = 1;
  RCC_OscInitStruct.PLL.PLLQ = 6;
  RCC_OscInitStruct.PLL.PLLR = 2;
  RCC_OscInitStruct.PLL.PLLRGE = RCC_PLL1VCIRANGE_3;
  RCC_OscInitStruct.PLL.PLLVCOSEL = RCC_PLL1VCOWIDE;
  RCC_OscInitStruct.PLL.PLLFRACN = 0;
  if (HAL_RCC_OscConfig(&RCC_OscInitStruct) != HAL_OK)
  {
    Error_Handler();
  }

  /** Initializes the CPU, AHB and APB buses clocks
  */
  RCC_ClkInitStruct.ClockType = RCC_CLOCKTYPE_HCLK|RCC_CLOCKTYPE_SYSCLK
                              |RCC_CLOCKTYPE_PCLK1|RCC_CLOCKTYPE_PCLK2
                              |RCC_CLOCKTYPE_D3PCLK1|RCC_CLOCKTYPE_D1PCLK1;
  RCC_ClkInitStruct.SYSCLKSource = RCC_SYSCLKSOURCE_PLLCLK;
  RCC_ClkInitStruct.SYSCLKDivider = RCC_SYSCLK_DIV1;
  RCC_ClkInitStruct.AHBCLKDivider = RCC_HCLK_DIV2;
  RCC_ClkInitStruct.APB3CLKDivider = RCC_APB3_DIV2;
  RCC_ClkInitStruct.APB1CLKDivider = RCC_APB1_DIV2;
  RCC_ClkInitStruct.APB2CLKDivider = RCC_APB2_DIV2;
  RCC_ClkInitStruct.APB4CLKDivider = RCC_APB4_DIV2;

  if (HAL_RCC_ClockConfig(&RCC_ClkInitStruct, FLASH_LATENCY_3) != HAL_OK)
  {
    Error_Handler();
  }
}

static void MX_FDCAN1_Init(void)
{

  hfdcan1.Instance = FDCAN1;
  hfdcan1.Init.FrameFormat = FDCAN_FRAME_FD_BRS;
  hfdcan1.Init.Mode = FDCAN_MODE_NORMAL;
  hfdcan1.Init.AutoRetransmission = ENABLE;
  hfdcan1.Init.TransmitPause = DISABLE;
  hfdcan1.Init.ProtocolException = ENABLE;
  hfdcan1.Init.NominalPrescaler = 2;
  hfdcan1.Init.NominalSyncJumpWidth = 8;
  hfdcan1.Init.NominalTimeSeg1 = 31;
  hfdcan1.Init.NominalTimeSeg2 = 8;
  hfdcan1.Init.DataPrescaler = 2;
  hfdcan1.Init.DataSyncJumpWidth = 2;
  hfdcan1.Init.DataTimeSeg1 = 5;
  hfdcan1.Init.DataTimeSeg2 = 2;
  hfdcan1.Init.MessageRAMOffset = 0;
  hfdcan1.Init.StdFiltersNbr = 0;
  hfdcan1.Init.ExtFiltersNbr = 0;
  hfdcan1.Init.RxFifo0ElmtsNbr = 10;
  hfdcan1.Init.RxFifo0ElmtSize = FDCAN_DATA_BYTES_64;
  hfdcan1.Init.RxFifo1ElmtsNbr = 0;
  hfdcan1.Init.RxFifo1ElmtSize = FDCAN_DATA_BYTES_64;
  hfdcan1.Init.RxBuffersNbr = 0;
  hfdcan1.Init.RxBufferSize = FDCAN_DATA_BYTES_64;
  hfdcan1.Init.TxEventsNbr = 0;
  hfdcan1.Init.TxBuffersNbr = 4;
  hfdcan1.Init.TxFifoQueueElmtsNbr = 28;
  hfdcan1.Init.TxFifoQueueMode = FDCAN_TX_FIFO_OPERATION;
  hfdcan1.Init.TxElmtSize = FDCAN_DATA_BYTES_64;
  if (HAL_FDCAN_Init(&hfdcan1) != HAL_OK)
  {
    Error_Handler();
  }

}

static void MX_FDCAN2_Init(void)
{

  hfdcan2.Instance = FDCAN2;
  hfdcan2.Init.FrameFormat = FDCAN_FRAME_FD_BRS;
  hfdcan2.Init.Mode = FDCAN_MODE_NORMAL;
  hfdcan2.Init.AutoRetransmission = ENABLE;
  hfdcan2.Init.TransmitPause = DISABLE;
  hfdcan2.Init.ProtocolException = ENABLE;
  hfdcan2.Init.NominalPrescaler = 2;
  hfdcan2.Init.NominalSyncJumpWidth = 8;
  hfdcan2.Init.NominalTimeSeg1 = 31;
  hfdcan2.Init.NominalTimeSeg2 = 8;
  hfdcan2.Init.DataPrescaler = 2;
  hfdcan2.Init.DataSyncJumpWidth = 2;
  hfdcan2.Init.DataTimeSeg1 = 5;
  hfdcan2.Init.DataTimeSeg2 = 2;
  hfdcan2.Init.MessageRAMOffset = 756;
  hfdcan2.Init.StdFiltersNbr = 0;
  hfdcan2.Init.ExtFiltersNbr = 0;
  hfdcan2.Init.RxFifo0ElmtsNbr = 10;
  hfdcan2.Init.RxFifo0ElmtSize = FDCAN_DATA_BYTES_64;
  hfdcan2.Init.RxFifo1ElmtsNbr = 0;
  hfdcan2.Init.RxFifo1ElmtSize = FDCAN_DATA_BYTES_64;
  hfdcan2.Init.RxBuffersNbr = 0;
  hfdcan2.Init.RxBufferSize = FDCAN_DATA_BYTES_64;
  hfdcan2.Init.TxEventsNbr = 0;
  hfdcan2.Init.TxBuffersNbr = 4;
  hfdcan2.Init.TxFifoQueueElmtsNbr = 28;
  hfdcan2.Init.TxFifoQueueMode = FDCAN_TX_FIFO_OPERATION;
  hfdcan2.Init.TxElmtSize = FDCAN_DATA_BYTES_64;
  if (HAL_FDCAN_Init(&hfdcan2) != HAL_OK)
  {
    Error_Handler();
  }

}

static void MX_USART1_UART_Init(void)
{

  huart1.Instance = USART1;
  huart1.Init.BaudRate = 921600;
  huart1.Init.WordLength = UART_WORDLENGTH_8B;
  huart1.Init.StopBits = UART_STOPBITS_1;
  huart1.Init.Parity = UART_PARITY_NONE;
  huart1.Init.Mode = UART_MODE_TX_RX;
  huart1.Init.HwFlowCtl = UART_HWCONTROL_NONE;
  huart1.Init.OverSampling = UART_OVERSAMPLING_16;
  huart1.Init.OneBitSampling = UART_ONE_BIT_SAMPLE_DISABLE;
  huart1.Init.ClockPrescaler = UART_PRESCALER_DIV1;
  huart1.AdvancedInit.AdvFeatureInit = UART_ADVFEATURE_NO_INIT;
  if (HAL_UART_Init(&huart1) != HAL_OK)
  {
    Error_Handler();
  }
  if (HAL_UARTEx_SetTxFifoThreshold(&huart1, UART_TXFIFO_THRESHOLD_1_8) != HAL_OK)
  {
    Error_Handler();
  }
  if (HAL_UARTEx_SetRxFifoThreshold(&huart1, UART_RXFIFO_THRESHOLD_1_8) != HAL_OK)
  {
    Error_Handler();
  }
  if (HAL_UARTEx_DisableFifoMode(&huart1) != HAL_OK)
  {
    Error_Handler();
  }

}

static void MX_WWDG1_Init(void)
{

  hwwdg1.Instance = WWDG1;
  hwwdg1.Init.Prescaler = WWDG_PRESCALER_128;
  hwwdg1.Init.Window = 112;
  hwwdg1.Init.Counter = 127;
  hwwdg1.Init.EWIMode = WWDG_EWI_DISABLE;
  if (HAL_WWDG_Init(&hwwdg1) != HAL_OK)
  {
    Error_Handler();
  }

}

static void MX_GPIO_Init(void)
{
  GPIO_InitTypeDef GPIO_InitStruct = {0};

  /* GPIO Ports Clock Enable */
  __HAL_RCC_GPIOC_CLK_ENABLE();
  __HAL_RCC_GPIOH_CLK_ENABLE();
  __HAL_RCC_GPIOE_CLK_ENABLE();
  __HAL_RCC_GPIOB_CLK_ENABLE();
  __HAL_RCC_GPIOA_CLK_ENABLE();
  __HAL_RCC_GPIOD_CLK_ENABLE();

  /*Configure GPIO pin Output Level */
  HAL_GPIO_WritePin(GPIOC, MOTOR2_PWR_EN_Pin|MOTOR1_PWR_EN_Pin, GPIO_PIN_RESET);

  /*Configure GPIO pin Output Level */
  HAL_GPIO_WritePin(BUZZER_GPIO_Port, BUZZER_Pin, GPIO_PIN_RESET);

  /*Configure GPIO pins : MOTOR2_PWR_EN_Pin MOTOR1_PWR_EN_Pin */
  GPIO_InitStruct.Pin = MOTOR2_PWR_EN_Pin|MOTOR1_PWR_EN_Pin;
  GPIO_InitStruct.Mode = GPIO_MODE_OUTPUT_PP;
  GPIO_InitStruct.Pull = GPIO_NOPULL;
  GPIO_InitStruct.Speed = GPIO_SPEED_FREQ_LOW;
  HAL_GPIO_Init(GPIOC, &GPIO_InitStruct);

  /*Configure GPIO pin : ESTOP_SW_Pin */
  GPIO_InitStruct.Pin = ESTOP_SW_Pin;
  GPIO_InitStruct.Mode = GPIO_MODE_IT_RISING_FALLING;
  GPIO_InitStruct.Pull = GPIO_PULLUP;
  HAL_GPIO_Init(ESTOP_SW_GPIO_Port, &GPIO_InitStruct);

  /*Configure GPIO pin : BUZZER_Pin */
  GPIO_InitStruct.Pin = BUZZER_Pin;
  GPIO_InitStruct.Mode = GPIO_MODE_OUTPUT_PP;
  GPIO_InitStruct.Pull = GPIO_NOPULL;
  GPIO_InitStruct.Speed = GPIO_SPEED_FREQ_VERY_HIGH;
  HAL_GPIO_Init(BUZZER_GPIO_Port, &GPIO_InitStruct);

  /* EXTI interrupt init*/
  HAL_NVIC_SetPriority(ESTOP_SW_EXTI_IRQn, 0, 0);
  HAL_NVIC_EnableIRQ(ESTOP_SW_EXTI_IRQn);

}

/* USER CODE BEGIN 4 */

void USART1_IRQHandler(void)
{
  HAL_UART_IRQHandler(&huart1);
}

void HAL_UART_RxCpltCallback(UART_HandleTypeDef *huart)
{
  if (huart->Instance == USART1)
  {
    uint16_t next_head = (uint16_t)((g_imu_uart_rx_head + 1U) & IMU_UART_RX_BUFFER_MASK);

    if (next_head != g_imu_uart_rx_tail)
    {
      g_imu_uart_rx_buffer[g_imu_uart_rx_head] = g_imu_uart_rx_byte;
      g_imu_uart_rx_head = next_head;
    }
    else
    {
      g_imu_uart_rx_overflow = 1U;
    }

    (void)HAL_UART_Receive_IT(&huart1, &g_imu_uart_rx_byte, 1U);
  }
}

void HAL_UART_ErrorCallback(UART_HandleTypeDef *huart)
{
  if (huart->Instance == USART1)
  {
    __HAL_UART_CLEAR_OREFLAG(huart);
    (void)HAL_UART_Receive_IT(&huart1, &g_imu_uart_rx_byte, 1U);
  }
}

void HAL_GPIO_EXTI_Callback(uint16_t GPIO_Pin)// 外部中断回调函数
{
    if (GPIO_Pin == ESTOP_SW_Pin)
    {
        // // 断电
        // HAL_GPIO_WritePin(MOTOR1_PWR_EN_GPIO_Port, MOTOR1_PWR_EN_Pin | MOTOR2_PWR_EN_Pin, GPIO_PIN_RESET);
        // // 蜂鸣器响一声
        // HAL_GPIO_WritePin(BUZZER_GPIO_Port, BUZZER_Pin, GPIO_PIN_SET);
        // HAL_Delay(200);
        // HAL_GPIO_WritePin(BUZZER_GPIO_Port, BUZZER_Pin, GPIO_PIN_RESET);
    }
}

/* USER CODE END 4 */

void Error_Handler(void)
{
  __disable_irq();
  while (1)
  {
  }
}
